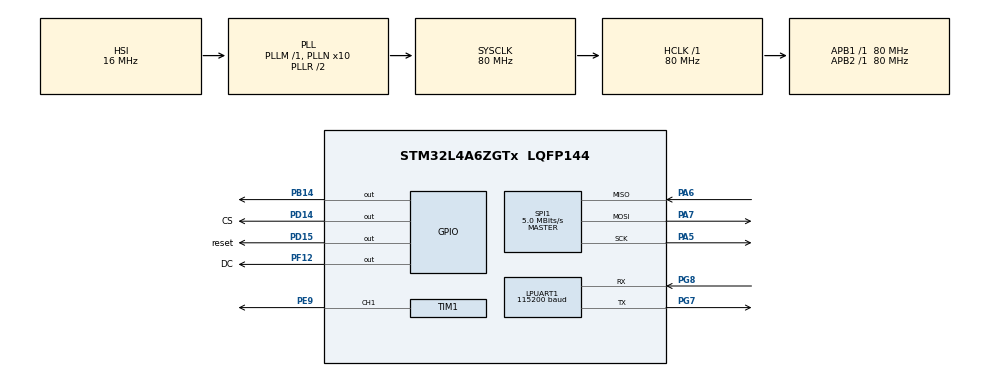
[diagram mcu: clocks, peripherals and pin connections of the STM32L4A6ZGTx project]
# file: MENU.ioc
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Dma.Request0=SPI1_RX
Dma.Request1=SPI1_TX
Dma.SPI1_RX.0.Direction=DMA_PERIPH_TO_MEMORY
Dma.SPI1_RX.0.Instance=DMA1_Channel2
Dma.SPI1_RX.0.MemDataAlignment=DMA_MDATAALIGN_BYTE
Dma.SPI1_RX.0.MemInc=DMA_MINC_ENABLE
Dma.SPI1_RX.0.Mode=DMA_NORMAL
Dma.SPI1_RX.0.PeriphDataAlignment=DMA_PDATAALIGN_BYTE
Dma.SPI1_RX.0.PeriphInc=DMA_PINC_DISABLE
Dma.SPI1_RX.0.Priority=DMA_PRIORITY_LOW
Dma.SPI1_TX.1.Direction=DMA_MEMORY_TO_PERIPH
Dma.SPI1_TX.1.Instance=DMA1_Channel3
Dma.SPI1_TX.1.MemDataAlignment=DMA_MDATAALIGN_BYTE
Dma.SPI1_TX.1.MemInc=DMA_MINC_ENABLE
Dma.SPI1_TX.1.Mode=DMA_NORMAL
Dma.SPI1_TX.1.PeriphDataAlignment=DMA_PDATAALIGN_BYTE
Dma.SPI1_TX.1.PeriphInc=DMA_PINC_DISABLE
Dma.SPI1_TX.1.Priority=DMA_PRIORITY_LOW
LPUART1.BaudRate=115200
LPUART1.WordLength=UART_WORDLENGTH_8B
Mcu.Family=STM32L4
Mcu.Name=STM32L4A6ZGTx
Mcu.Package=LQFP144
NVIC.DMA1_Channel2_IRQn=true\:0\:0\:false\:false\:true\:false\:true\:true
NVIC.DMA1_Channel3_IRQn=true\:0\:0\:false\:false\:true\:false\:true\:true
NVIC.LPUART1_IRQn=true\:0\:0\:false\:false\:true\:true\:true\:true
NVIC.PriorityGroup=NVIC_PRIORITYGROUP_4
PA5.Mode=Full_Duplex_Master
PA5.Signal=SPI1_SCK
PA6.Mode=Full_Duplex_Master
PA6.Signal=SPI1_MISO
PA7.Mode=Full_Duplex_Master
PA7.Signal=SPI1_MOSI
PB14.Signal=GPIO_Output
PD14.GPIO_Label=CS
PD14.Signal=GPIO_Output
PD15.GPIO_Label=reset
PD15.Signal=GPIO_Output
PE9.Signal=S_TIM1_CH1
PF12.GPIO_Label=DC
PF12.Signal=GPIO_Output
PG7.Mode=Asynchronous
PG7.Signal=LPUART1_TX
PG8.Mode=Asynchronous
PG8.Signal=LPUART1_RX
ProjectManager.HeapSize=0x200
ProjectManager.StackSize=0x400
ProjectManager.TargetToolchain=STM32CubeIDE
RCC.ADCFreq_Value=64000000
RCC.AHBFreq_Value=80000000
RCC.APB1Freq_Value=80000000
RCC.APB1TimFreq_Value=80000000
RCC.APB2Freq_Value=80000000
RCC.APB2TimFreq_Value=80000000
RCC.CortexFreq_Value=80000000
RCC.HCLKFreq_Value=80000000
RCC.HSE_VALUE=8000000
RCC.HSI48_VALUE=48000000
RCC.HSI_VALUE=16000000
RCC.LSE_VALUE=32768
RCC.MSI_VALUE=4000000
RCC.PLLN=10
RCC.PLLSourceVirtual=RCC_PLLSOURCE_HSI
RCC.SYSCLKFreq_VALUE=80000000
RCC.SYSCLKSource=RCC_SYSCLKSOURCE_PLLCLK
RCC.USBFreq_Value=64000000
RCC.VCOOutputFreq_Value=160000000
SH.S_TIM1_CH1.0=TIM1_CH1,PWM Generation1 CH1
SPI1.BaudRatePrescaler=SPI_BAUDRATEPRESCALER_16
SPI1.CalculateBaudRate=5.0 MBits/s
SPI1.DataSize=SPI_DATASIZE_8BIT
SPI1.Direction=SPI_DIRECTION_2LINES
SPI1.Mode=SPI_MODE_MASTER
SPI1.VirtualType=VM_MASTER
TIM1.Channel-PWM\ Generation1\ CH1=TIM_CHANNEL_1
TIM1.Period=1000
TIM1.Prescaler=7
board=custom

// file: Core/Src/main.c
/* USER CODE BEGIN Header */
/**
  ******************************************************************************
  * @file           : main.c
  * @brief          : Main program body
  ******************************************************************************
  * @attention
  *
  * Copyright (c) 2025 STMicroelectronics.
  * All rights reserved.
  *
  * This software is licensed under terms that can be found in the LICENSE file
  * in the root directory of this software component.
  * If no LICENSE file comes with this software, it is provided AS-IS.
  *
  ******************************************************************************
  */
/* USER CODE END Header */
#include "main.h"

/* USER CODE BEGIN Includes */
#include"string.h"
#include "ST7735.h"
#include"GFX_FUNCTIONS.h"
/* USER CODE END Includes */

UART_HandleTypeDef hlpuart1;

SPI_HandleTypeDef hspi1;
DMA_HandleTypeDef hdma_spi1_rx;
DMA_HandleTypeDef hdma_spi1_tx;

TIM_HandleTypeDef htim1;

void SystemClock_Config(void);
static void MX_GPIO_Init(void);
static void MX_DMA_Init(void);
static void MX_LPUART1_UART_Init(void);
static void MX_SPI1_Init(void);
static void MX_TIM1_Init(void);
/* USER CODE BEGIN PFP */
#define NUM_OPTIONS 4

const char *menu[] = {
	"TEST LCD",
    "LED ON",
    "LED OFF",
    "LED TOGGLE",

};

volatile uint8_t rx_ready = 0;
char last_char;
uint8_t rx_char;
uint8_t brightness = 50;  // Default 50%
// Draw a simple light bulb ON
void draw_bulb_on(void) {
	fillScreen(BLACK);
    fillCircle(64, 40, 20, YELLOW);         // Bulb head
    ST7735_FillRectangle(60, 60, 8, 15, GRAY);          // Bulb base
    drawLine(64, 75, 64, 100, ORANGE);      // Glow line
}
void draw_bulb_off(void) {
    fillScreen(BLACK);
    fillCircle(64, 40, 20, GRAY);         // Bulb head
    ST7735_FillRectangle(60, 60, 8, 15, WHITE);          // Bulb base
    drawLine(64, 75, 64, 100, ORANGE);      // Glow line
}

void process_command(char *cmd)
{

    if (strstr(cmd, "LED ON"))
    {
        HAL_GPIO_WritePin(GPIOB, GPIO_PIN_14, GPIO_PIN_SET); // LED ON
        char msg[] = "LED turned ON\r\n";
        //HAL_UART_Transmit(&hlpuart1, (uint8_t*)msg, strlen(msg), HAL_MAX_DELAY);
        fillScreen(BLACK);
        draw_bulb_on();
        ST7735_WriteString(5, 90,msg, Font_11x18, YELLOW, BLACK);

    }
    else if (strstr(cmd, "LED OFF"))
    {
        HAL_GPIO_WritePin(GPIOB, GPIO_PIN_14, GPIO_PIN_RESET); // LED OFF
        char msg[] = "LED turned OFF\r\n";
        //HAL_UART_Transmit(&hlpuart1, (uint8_t*)msg, strlen(msg), HAL_MAX_DELAY);
        fillScreen(BLACK);
        draw_bulb_off();
        ST7735_WriteString(5, 90,msg, Font_11x18,CYAN, BLACK);
    }
    else if (strstr(cmd, "LED TOGGLE"))
    {
        HAL_GPIO_TogglePin(GPIOB, GPIO_PIN_14);
        char msg[] = "LED Toggled\r\n";
        //HAL_UART_Transmit(&hlpuart1, (uint8_t*)msg, strlen(msg), HAL_MAX_DELAY);
        fillScreen(BLACK);

        ST7735_WriteString(5, 90,msg, Font_11x18, GREEN, BLACK);
    }
    else if (strstr(cmd, "TEST LCD"))
        {
    	   testAll();
        }
    else
    {
        char msg[] = "Invalid/Command";
        //HAL_UART_Transmit(&hlpuart1, (uint8_t*)msg, strlen(msg), HAL_MAX_DELAY);
        fillScreen(BLACK);
        ST7735_WriteStringWithSeparators(10, 90, msg, Font_11x18, RED, BLACK);
    }
}
void draw_menu(int selected) {
	fillScreen(BLACK);

    for (int i = 0; i < NUM_OPTIONS; i++) {
        uint16_t y = 10 + i * 20;
        if (i == selected) {
            ST7735_WriteString(10, y, "->", Font_11x18,YELLOW, BLACK);
            ST7735_WriteString(30, y, (char*)menu[i], Font_11x18, YELLOW,BLACK);

        } else {
            ST7735_WriteString(30, y, (char*)menu[i], Font_11x18, WHITE,BLACK);
        }
    }

}

void set_backlight_brightness(uint8_t percent) {
    if (percent > 100) percent = 100;
    uint32_t pulse = (htim1.Init.Period + 1) * percent / 100;
    __HAL_TIM_SET_COMPARE(&htim1, TIM_CHANNEL_1, pulse);

}
void backlight_display(){
	  char b_str[8];  // Enough for "100%" + null terminator

	    // Easy conversion
	    b_str[0] = (brightness / 100) + '0';                 // Hundreds
	    b_str[1] = ((brightness / 10) % 10) + '0';           // Tens
	    b_str[2] = (brightness % 10) + '0';                  // Ones
	    b_str[3] = '%';                                      // Percent symbol
	    b_str[4] = '\0';                                     // Null-terminate
	    ST7735_WriteString(0, 100, "Bright: ", Font_11x18, WHITE, BLACK);
	    ST7735_WriteString(95, 100, b_str, Font_11x18, WHITE, BLACK);
}
void HAL_UART_RxCpltCallback(UART_HandleTypeDef *huart)
{
    if (huart->Instance == LPUART1) {
        last_char = rx_char;
        rx_ready = 1; // Signal main loop
        HAL_UART_Receive_IT(&hlpuart1, &rx_char, 1);
    }
}

/* USER CODE END PFP */

/* USER CODE BEGIN 0 */
//char data[]="Type (LED ON)/(LED OFF)/TOGGLE\r\n";

//char intro[] = "TYPE\nLED ON\nLED OFF\nTOGGLED";

int selected = 0;

/* USER CODE END 0 */

int main(void)
{

  /* MCU Configuration--------------------------------------------------------*/

  /* Reset of all peripherals, Initializes the Flash interface and the Systick. */
  HAL_Init();

  /* Configure the system clock */
  SystemClock_Config();

  /* Initialize all configured peripherals */
  MX_GPIO_Init();
  MX_DMA_Init();
  MX_LPUART1_UART_Init();
  MX_SPI1_Init();
  MX_TIM1_Init();
  /* USER CODE BEGIN 2 */
  HAL_TIM_PWM_Start(&htim1, TIM_CHANNEL_1);

  // Test: set brightness to 50%
  set_backlight_brightness(brightness);
  ST7735_Init(0);
  fillScreen(BLACK);
  ST7735_SetRotation (1);
  draw_menu(selected);
//  char rx_buffer[8];
  HAL_UART_Receive_IT(&hlpuart1, &rx_char, 1);

  /* USER CODE END 2 */

  /* Infinite loop */
  while (1)
  {

    /* USER CODE BEGIN 3 */

	  if (rx_ready) {
	         rx_ready = 0;

	         switch (last_char) {
	             case 'w':
	                 selected--;
	                 if (selected < 0) selected = NUM_OPTIONS - 1;
	                 draw_menu(selected);
	                 break;

	             case 's':
	                 selected++;
	                 if (selected >= NUM_OPTIONS) selected = 0;
	                 draw_menu(selected);
	                 break;

	             case '\r':
	            	 fillScreen(BLACK);
	                 process_command((char*)menu[selected]);
	                 HAL_Delay(1000);
	                 draw_menu(selected);

	                 break;
	             case 'a': // decrease brightness
	                    if (brightness >= 10) brightness -= 10;
	                    else brightness = 0;
	                    set_backlight_brightness(brightness);
	                    backlight_display();
	                    break;

	                case 'd': // increase brightness
	                    if (brightness <= 90) brightness += 10;
	                    else brightness = 100;
	                    set_backlight_brightness(brightness);
	                    backlight_display();
	                    break;
	         }
	     }
  }
	  //	  HAL_UART_Receive(&hlpuart1, (uint8_t*)&rx_char, 1, HAL_MAX_DELAY);
//	  HAL_UART_Transmit(&hlpuart1,(uint8_t*) &rx_char, 1, HAL_MAX_DELAY);  // Echo back
//
//	            switch (rx_char) {
//	                        case 'w': // Up
//	                            selected--;
//	                            if (selected < 0) selected = NUM_OPTIONS - 1;
//	                            draw_menu(selected);
//	                            break;
//
//	                        case 's': // Down
//	                            selected++;
//	                            if (selected >= NUM_OPTIONS) selected = 0;
//	                            draw_menu(selected);
//	                            break;
//
//	                        case '\r': // Enter
//	                      	  fillScreen(
//	                      			  BLACK);
//	                            process_command((char*)menu[selected]);
//	                            HAL_Delay(2000); // Pause for 2s
//	                            draw_menu(selected);  // Return to menu
//
//	                            break;
//	               }

//      memset(rx_buffer, 0, sizeof(rx_buffer));
//      HAL_UART_Transmit(&hlpuart1, (uint8_t*)"\r\n", 2, HAL_MAX_DELAY);
//      HAL_UART_Transmit(&hlpuart1,(uint8_t*)data, strlen(data), HAL_MAX_DELAY);
     // fillCircle(5, 32, 5, BLUE);
     // ST7735_WriteStringWithSeparators(20, 0, intro, Font_11x18, WHITE, BLACK);
//      uint8_t idx = 0;
//       uint8_t ch;

//          while (1)
//          {
//              // Receive one character
//              HAL_UART_Receive(&hlpuart1, &ch, 1, HAL_MAX_DELAY);
//
//              // Echo the character back
//              HAL_UART_Transmit(&hlpuart1, &ch, 1, HAL_MAX_DELAY);
//
//              // Store into buffer
//              rx_buffer[idx++] = ch;
//
//              // Break on newline or carriage return
//              if (ch == '\r' || ch == '\n' || idx >= sizeof(rx_buffer) - 1)
//              {
//                  rx_buffer[idx] = '\0'; // Null-terminate the string
//                  break;
//              }
//          }

          // send a newline after the echo
         // HAL_UART_Transmit(&hlpuart1, (uint8_t*)"\r\n", 2, HAL_MAX_DELAY);
  //          process_command((char*)rx_buffer);

  /* USER CODE END 3 */
}

void SystemClock_Config(void)
{
  RCC_OscInitTypeDef RCC_OscInitStruct = {0};
  RCC_ClkInitTypeDef RCC_ClkInitStruct = {0};

  /** Configure the main internal regulator output voltage
  */
  if (HAL_PWREx_ControlVoltageScaling(PWR_REGULATOR_VOLTAGE_SCALE1) != HAL_OK)
  {
    Error_Handler();
  }

  /** Initializes the RCC Oscillators according to the specified parameters
  * in the RCC_OscInitTypeDef structure.
  */
  RCC_OscInitStruct.OscillatorType = RCC_OSCILLATORTYPE_HSI;
  RCC_OscInitStruct.HSIState = RCC_HSI_ON;
  RCC_OscInitStruct.HSICalibrationValue = RCC_HSICALIBRATION_DEFAULT;
  RCC_OscInitStruct.PLL.PLLState = RCC_PLL_ON;
  RCC_OscInitStruct.PLL.PLLSource = RCC_PLLSOURCE_HSI;
  RCC_OscInitStruct.PLL.PLLM = 1;
  RCC_OscInitStruct.PLL.PLLN = 10;
  RCC_OscInitStruct.PLL.PLLP = RCC_PLLP_DIV2;
  RCC_OscInitStruct.PLL.PLLQ = RCC_PLLQ_DIV2;
  RCC_OscInitStruct.PLL.PLLR = RCC_PLLR_DIV2;
  if (HAL_RCC_OscConfig(&RCC_OscInitStruct) != HAL_OK)
  {
    Error_Handler();
  }

  /** Initializes the CPU, AHB and APB buses clocks
  */
  RCC_ClkInitStruct.ClockType = RCC_CLOCKTYPE_HCLK|RCC_CLOCKTYPE_SYSCLK
                              |RCC_CLOCKTYPE_PCLK1|RCC_CLOCKTYPE_PCLK2;
  RCC_ClkInitStruct.SYSCLKSource = RCC_SYSCLKSOURCE_PLLCLK;
  RCC_ClkInitStruct.AHBCLKDivider = RCC_SYSCLK_DIV1;
  RCC_ClkInitStruct.APB1CLKDivider = RCC_HCLK_DIV1;
  RCC_ClkInitStruct.APB2CLKDivider = RCC_HCLK_DIV1;

  if (HAL_RCC_ClockConfig(&RCC_ClkInitStruct, FLASH_LATENCY_4) != HAL_OK)
  {
    Error_Handler();
  }
}

static void MX_LPUART1_UART_Init(void)
{

  hlpuart1.Instance = LPUART1;
  hlpuart1.Init.BaudRate = 115200;
  hlpuart1.Init.WordLength = UART_WORDLENGTH_8B;
  hlpuart1.Init.StopBits = UART_STOPBITS_1;
  hlpuart1.Init.Parity = UART_PARITY_NONE;
  hlpuart1.Init.Mode = UART_MODE_TX_RX;
  hlpuart1.Init.HwFlowCtl = UART_HWCONTROL_NONE;
  hlpuart1.Init.OneBitSampling = UART_ONE_BIT_SAMPLE_DISABLE;
  hlpuart1.AdvancedInit.AdvFeatureInit = UART_ADVFEATURE_NO_INIT;
  if (HAL_UART_Init(&hlpuart1) != HAL_OK)
  {
    Error_Handler();
  }

}

static void MX_SPI1_Init(void)
{

  /* SPI1 parameter configuration*/
  hspi1.Instance = SPI1;
  hspi1.Init.Mode = SPI_MODE_MASTER;
  hspi1.Init.Direction = SPI_DIRECTION_2LINES;
  hspi1.Init.DataSize = SPI_DATASIZE_8BIT;
  hspi1.Init.CLKPolarity = SPI_POLARITY_LOW;
  hspi1.Init.CLKPhase = SPI_PHASE_1EDGE;
  hspi1.Init.NSS = SPI_NSS_SOFT;
  hspi1.Init.BaudRatePrescaler = SPI_BAUDRATEPRESCALER_16;
  hspi1.Init.FirstBit = SPI_FIRSTBIT_MSB;
  hspi1.Init.TIMode = SPI_TIMODE_DISABLE;
  hspi1.Init.CRCCalculation = SPI_CRCCALCULATION_DISABLE;
  hspi1.Init.CRCPolynomial = 7;
  hspi1.Init.CRCLength = SPI_CRC_LENGTH_DATASIZE;
  hspi1.Init.NSSPMode = SPI_NSS_PULSE_ENABLE;
  if (HAL_SPI_Init(&hspi1) != HAL_OK)
  {
    Error_Handler();
  }

}

static void MX_TIM1_Init(void)
{

  TIM_MasterConfigTypeDef sMasterConfig = {0};
  TIM_OC_InitTypeDef sConfigOC = {0};
  TIM_BreakDeadTimeConfigTypeDef sBreakDeadTimeConfig = {0};

  htim1.Instance = TIM1;
  htim1.Init.Prescaler = 7;
  htim1.Init.CounterMode = TIM_COUNTERMODE_UP;
  htim1.Init.Period = 1000;
  htim1.Init.ClockDivision = TIM_CLOCKDIVISION_DIV1;
  htim1.Init.RepetitionCounter = 0;
  htim1.Init.AutoReloadPreload = TIM_AUTORELOAD_PRELOAD_DISABLE;
  if (HAL_TIM_PWM_Init(&htim1) != HAL_OK)
  {
    Error_Handler();
  }
  sMasterConfig.MasterOutputTrigger = TIM_TRGO_RESET;
  sMasterConfig.MasterOutputTrigger2 = TIM_TRGO2_RESET;
  sMasterConfig.MasterSlaveMode = TIM_MASTERSLAVEMODE_DISABLE;
  if (HAL_TIMEx_MasterConfigSynchronization(&htim1, &sMasterConfig) != HAL_OK)
  {
    Error_Handler();
  }
  sConfigOC.OCMode = TIM_OCMODE_PWM1;
  sConfigOC.Pulse = 0;
  sConfigOC.OCPolarity = TIM_OCPOLARITY_HIGH;
  sConfigOC.OCNPolarity = TIM_OCNPOLARITY_HIGH;
  sConfigOC.OCFastMode = TIM_OCFAST_DISABLE;
  sConfigOC.OCIdleState = TIM_OCIDLESTATE_RESET;
  sConfigOC.OCNIdleState = TIM_OCNIDLESTATE_RESET;
  if (HAL_TIM_PWM_ConfigChannel(&htim1, &sConfigOC, TIM_CHANNEL_1) != HAL_OK)
  {
    Error_Handler();
  }
  sBreakDeadTimeConfig.OffStateRunMode = TIM_OSSR_DISABLE;
  sBreakDeadTimeConfig.OffStateIDLEMode = TIM_OSSI_DISABLE;
  sBreakDeadTimeConfig.LockLevel = TIM_LOCKLEVEL_OFF;
  sBreakDeadTimeConfig.DeadTime = 0;
  sBreakDeadTimeConfig.BreakState = TIM_BREAK_DISABLE;
  sBreakDeadTimeConfig.BreakPolarity = TIM_BREAKPOLARITY_HIGH;
  sBreakDeadTimeConfig.BreakFilter = 0;
  sBreakDeadTimeConfig.Break2State = TIM_BREAK2_DISABLE;
  sBreakDeadTimeConfig.Break2Polarity = TIM_BREAK2POLARITY_HIGH;
  sBreakDeadTimeConfig.Break2Filter = 0;
  sBreakDeadTimeConfig.AutomaticOutput = TIM_AUTOMATICOUTPUT_DISABLE;
  if (HAL_TIMEx_ConfigBreakDeadTime(&htim1, &sBreakDeadTimeConfig) != HAL_OK)
  {
    Error_Handler();
  }
  HAL_TIM_MspPostInit(&htim1);

}

static void MX_DMA_Init(void)
{

  /* DMA controller clock enable */
  __HAL_RCC_DMA1_CLK_ENABLE();

  /* DMA interrupt init */
  /* DMA1_Channel2_IRQn interrupt configuration */
  HAL_NVIC_SetPriority(DMA1_Channel2_IRQn, 0, 0);
  HAL_NVIC_EnableIRQ(DMA1_Channel2_IRQn);
  /* DMA1_Channel3_IRQn interrupt configuration */
  HAL_NVIC_SetPriority(DMA1_Channel3_IRQn, 0, 0);
  HAL_NVIC_EnableIRQ(DMA1_Channel3_IRQn);

}

static void MX_GPIO_Init(void)
{
  GPIO_InitTypeDef GPIO_InitStruct = {0};

  /* GPIO Ports Clock Enable */
  __HAL_RCC_GPIOA_CLK_ENABLE();
  __HAL_RCC_GPIOF_CLK_ENABLE();
  __HAL_RCC_GPIOE_CLK_ENABLE();
  __HAL_RCC_GPIOB_CLK_ENABLE();
  __HAL_RCC_GPIOD_CLK_ENABLE();
  __HAL_RCC_GPIOG_CLK_ENABLE();
  HAL_PWREx_EnableVddIO2();

  /*Configure GPIO pin Output Level */
  HAL_GPIO_WritePin(DC_GPIO_Port, DC_Pin, GPIO_PIN_RESET);

  /*Configure GPIO pin Output Level */
  HAL_GPIO_WritePin(GPIOB, GPIO_PIN_14, GPIO_PIN_RESET);

  /*Configure GPIO pin Output Level */
  HAL_GPIO_WritePin(GPIOD, CS_Pin|reset_Pin, GPIO_PIN_RESET);

  /*Configure GPIO pin : DC_Pin */
  GPIO_InitStruct.Pin = DC_Pin;
  GPIO_InitStruct.Mode = GPIO_MODE_OUTPUT_PP;
  GPIO_InitStruct.Pull = GPIO_NOPULL;
  GPIO_InitStruct.Speed = GPIO_SPEED_FREQ_LOW;
  HAL_GPIO_Init(DC_GPIO_Port, &GPIO_InitStruct);

  /*Configure GPIO pin : PB14 */
  GPIO_InitStruct.Pin = GPIO_PIN_14;
  GPIO_InitStruct.Mode = GPIO_MODE_OUTPUT_PP;
  GPIO_InitStruct.Pull = GPIO_NOPULL;
  GPIO_InitStruct.Speed = GPIO_SPEED_FREQ_LOW;
  HAL_GPIO_Init(GPIOB, &GPIO_InitStruct);

  /*Configure GPIO pins : CS_Pin reset_Pin */
  GPIO_InitStruct.Pin = CS_Pin|reset_Pin;
  GPIO_InitStruct.Mode = GPIO_MODE_OUTPUT_PP;
  GPIO_InitStruct.Pull = GPIO_NOPULL;
  GPIO_InitStruct.Speed = GPIO_SPEED_FREQ_LOW;
  HAL_GPIO_Init(GPIOD, &GPIO_InitStruct);

}

void Error_Handler(void)
{
  __disable_irq();
  while (1)
  {
  }
}
